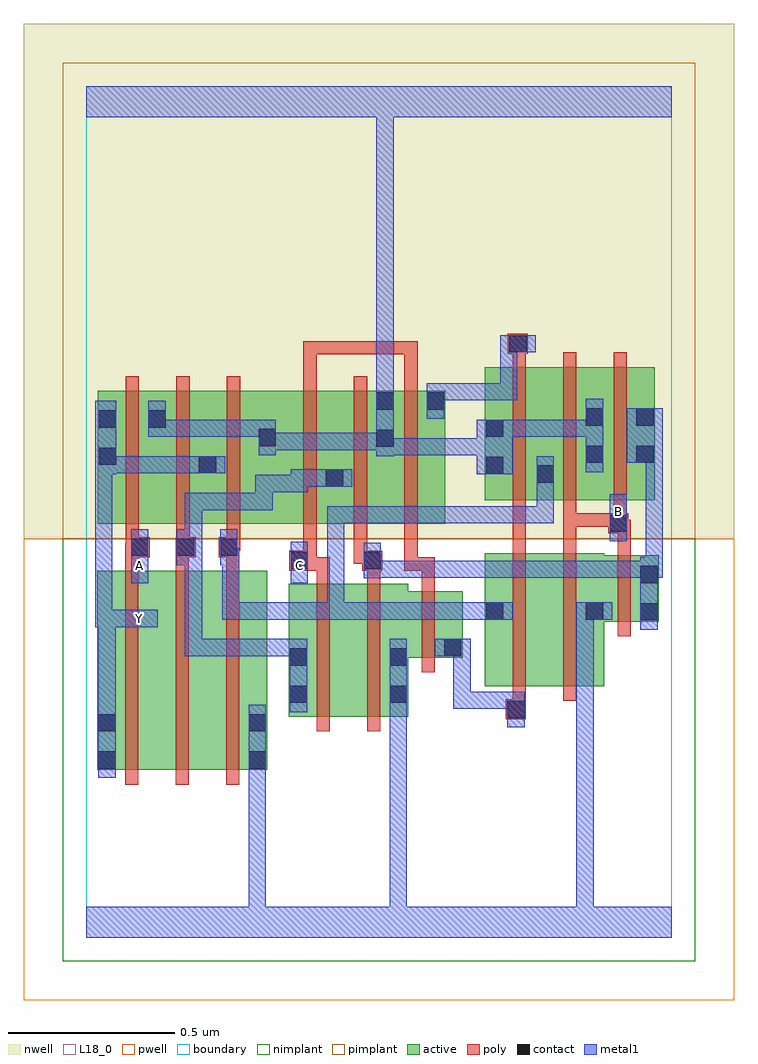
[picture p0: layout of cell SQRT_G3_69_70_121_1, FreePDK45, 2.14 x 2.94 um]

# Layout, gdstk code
import gdstk
lib = gdstk.Library(unit=1e-6, precision=1e-09)
def R(c, l, rs):  # rectangles x0, y0, x1, y1
    for r in rs: c.add(gdstk.rectangle(r[:2], r[2:], *l))
def A(c, l, x, y, w, h, nx, ny, dx, dy):  # array of equal rectangles
    R(c, l, [(x+i*dx, y+j*dy, x+i*dx+w, y+j*dy+h) for i in range(nx) for j in range(ny)])
active = (1, 0)
pwell = (2, 0)
nwell = (3, 0)
nimplant = (4, 0)
pimplant = (5, 0)
poly = (9, 0)
contact = (10, 0)
metal1 = (11, 0)
L18_0 = (18, 0)
boundary = (235, 0)

sqrt_g3_69_70_121_1 = lib.new_cell('SQRT_G3_69_70_121_1')
A(sqrt_g3_69_70_121_1, active, 0.716, 1.244, 0.06, 0.4, 3, 1, 0.152, 0)
R(sqrt_g3_69_70_121_1, active, [(0.032,0.504,0.092,1.104), (0.032,0.504,0.212,1.104), (0.212,0.504,0.364,1.104), (0.364,0.504,0.544,1.104), (0.484,0.504,0.544,1.104), (0.608,0.664,0.788,1.064), (0.788,0.664,0.968,1.064), (0.608,0.69,0.668,1.064), (0.908,0.702,0.968,0.874), (1.198,0.756,1.378,1.156), (1.198,0.756,1.258,1.156), (1.378,0.756,1.558,1.156), (0.908,0.842,1.132,1.042), (1.072,0.842,1.132,1.042), (1.498,0.884,1.558,1.028), (1.498,0.95,1.722,1.15), (1.662,0.95,1.722,1.15), (0.034,1.244,0.094,1.644), (0.034,1.244,0.242,1.644), (0.182,1.244,0.242,1.644), (0.182,1.244,0.394,1.644), (0.334,1.244,0.394,1.644), (0.334,1.244,0.574,1.644), (0.514,1.244,0.574,1.644), (0.514,1.244,0.776,1.644), (0.716,1.244,0.928,1.644), (0.868,1.244,1.08,1.644), (1.198,1.316,1.258,1.644), (1.198,1.316,1.41,1.716), (1.35,1.316,1.558,1.716), (1.498,1.316,1.71,1.716), (1.65,1.316,1.71,1.644), (1.35,1.364,1.41,1.644), (1.498,1.424,1.558,1.644)])
R(sqrt_g3_69_70_121_1, pwell, [(-0.188,-0.188,1.948,1.2)])
R(sqrt_g3_69_70_121_1, nwell, [(-0.188,1.2,1.948,2.748)])
R(sqrt_g3_69_70_121_1, nimplant, [(-0.072,-0.072,1.832,1.2)])
R(sqrt_g3_69_70_121_1, pimplant, [(-0.072,1.2,1.832,2.632)])
A(sqrt_g3_69_70_121_1, poly, 0.116, 0.46, 0.04, 0.688, 3, 1, 0.152, 0)
A(sqrt_g3_69_70_121_1, poly, 0.116, 1.108, 0.04, 0.076, 3, 1, 0.152, 0)
A(sqrt_g3_69_70_121_1, poly, 0.118, 1.164, 0.04, 0.076, 3, 1, 0.152, 0)
A(sqrt_g3_69_70_121_1, poly, 0.118, 1.2, 0.04, 0.488, 3, 1, 0.152, 0)
A(sqrt_g3_69_70_121_1, poly, 0.652, 1.2, 0.04, 0.488, 3, 1, 0.152, 0)
A(sqrt_g3_69_70_121_1, poly, 1.282, 1.236, 0.04, 0.076, 3, 1, 0.152, 0)
A(sqrt_g3_69_70_121_1, poly, 1.282, 1.272, 0.04, 0.488, 3, 1, 0.152, 0)
R(sqrt_g3_69_70_121_1, poly, [(0.692,0.62,0.732,1.108), (0.844,0.62,0.884,1.108), (1.262,0.656,1.322,0.716), (1.282,0.676,1.322,0.752), (1.282,0.712,1.322,1.2), (1.434,0.712,1.474,1.2), (1.008,0.798,1.048,1.086), (1.598,0.906,1.638,1.194), (1.008,1.046,1.048,1.144), (0.692,1.068,0.732,1.144), (0.844,1.068,0.884,1.144), (0.61,1.104,0.692,1.164), (0.652,1.104,0.692,1.144), (0.652,1.104,0.732,1.144), (0.83,1.104,0.89,1.164), (0.956,1.104,0.996,1.24), (0.956,1.104,1.048,1.144), (1.008,1.104,1.048,1.144), (1.008,1.104,1.048,1.144), (0.652,1.124,0.692,1.24), (0.804,1.124,0.844,1.24), (0.804,1.124,0.87,1.164), (0.83,1.124,0.87,1.164), (0.116,1.144,0.158,1.184), (0.118,1.144,0.158,1.184), (0.118,1.144,0.19,1.204), (0.268,1.144,0.328,1.204), (0.398,1.144,0.46,1.204), (1.598,1.154,1.638,1.256), (1.282,1.16,1.322,1.276), (1.434,1.16,1.474,1.276), (0.27,1.164,0.31,1.204), (0.27,1.164,0.31,1.204), (0.42,1.164,0.46,1.204), (0.42,1.164,0.462,1.204), (1.57,1.216,1.63,1.276), (1.59,1.216,1.63,1.256), (1.59,1.216,1.638,1.256), (1.282,1.236,1.322,1.276), (1.282,1.236,1.322,1.276), (1.282,1.236,1.322,1.276), (1.434,1.236,1.474,1.276), (1.434,1.236,1.474,1.276), (1.434,1.236,1.474,1.276), (1.434,1.236,1.61,1.276), (1.57,1.236,1.61,1.276), (1.57,1.236,1.61,1.276), (0.652,1.648,0.692,1.794), (0.956,1.648,0.996,1.794), (1.282,1.72,1.322,1.796), (0.652,1.754,0.692,1.794), (0.652,1.754,0.798,1.794), (0.758,1.754,0.798,1.794), (0.758,1.754,0.798,1.794), (0.758,1.754,0.798,1.794), (0.758,1.754,0.996,1.794), (0.956,1.754,0.996,1.794), (0.956,1.754,0.996,1.794), (0.956,1.754,0.996,1.794), (1.268,1.756,1.328,1.816)])
R(sqrt_g3_69_70_121_1, contact, [(0.036,0.508,0.088,0.56), (0.488,0.508,0.54,0.56), (0.036,0.62,0.088,0.672), (0.488,0.62,0.54,0.672), (1.266,0.66,1.318,0.712), (0.612,0.706,0.664,0.758), (0.912,0.706,0.964,0.758), (0.612,0.818,0.664,0.87), (0.912,0.818,0.964,0.87), (1.076,0.846,1.128,0.898), (1.666,0.954,1.718,1.006), (1.202,0.956,1.254,1.008), (1.502,0.956,1.554,1.008), (1.666,1.066,1.718,1.118), (0.614,1.108,0.666,1.16), (0.834,1.108,0.886,1.16), (0.134,1.148,0.186,1.2), (0.272,1.148,0.324,1.2), (0.402,1.148,0.454,1.2), (1.574,1.22,1.626,1.272), (0.72,1.356,0.772,1.408), (1.354,1.368,1.406,1.42), (1.202,1.394,1.254,1.446), (0.338,1.396,0.39,1.448), (0.038,1.422,0.09,1.474), (1.502,1.428,1.554,1.48), (1.654,1.428,1.706,1.48), (0.872,1.476,0.924,1.528), (0.518,1.478,0.57,1.53), (1.202,1.506,1.254,1.558), (0.038,1.534,0.09,1.586), (0.186,1.534,0.238,1.586), (1.502,1.54,1.554,1.592), (1.654,1.54,1.706,1.592), (0.872,1.588,0.924,1.64), (1.024,1.588,1.076,1.64), (1.272,1.76,1.324,1.812)])
R(sqrt_g3_69_70_121_1, metal1, [(0,0,1.76,0.092), (0.488,0.04,0.54,0.092), (0.488,0.04,0.54,0.092), (0.488,0.04,0.54,0.092), (0.488,0.04,0.54,0.092), (0.488,0.04,0.54,0.532), (0.912,0.04,0.964,0.73), (1.474,0.04,1.526,0.092), (1.474,0.04,1.526,0.092), (1.474,0.04,1.526,0.092), (1.474,0.04,1.526,0.092), (1.474,0.04,1.526,0.092), (1.474,0.04,1.526,0.092), (1.474,0.04,1.526,0.092), (1.474,0.04,1.526,0.092), (1.474,0.04,1.526,0.092), (1.474,0.04,1.526,0.092), (1.474,0.04,1.526,0.092), (1.474,0.04,1.526,0.092), (1.474,0.04,1.526,1.008), (0.036,0.48,0.088,0.7), (0.488,0.48,0.54,0.532), (0.488,0.48,0.54,0.532), (0.488,0.48,0.54,0.532), (0.488,0.48,0.54,0.532), (0.488,0.48,0.54,0.7), (1.266,0.632,1.318,0.74), (0.036,0.648,0.088,0.986), (0.612,0.678,0.664,0.898), (0.912,0.678,0.964,0.73), (0.912,0.678,0.964,0.73), (0.912,0.678,0.964,0.73), (0.912,0.678,0.964,0.73), (0.912,0.678,0.964,0.73), (0.912,0.678,0.964,0.73), (0.912,0.678,0.964,0.73), (0.912,0.678,0.964,0.73), (0.912,0.678,0.964,0.73), (0.912,0.678,0.964,0.73), (0.912,0.678,0.964,0.73), (0.912,0.678,0.964,0.73), (0.912,0.678,0.964,0.898), (1.104,0.688,1.156,0.74), (1.104,0.688,1.156,0.74), (1.104,0.688,1.156,0.74), (1.104,0.688,1.318,0.74), (1.104,0.688,1.156,0.898), (0.296,0.846,0.348,0.898), (0.296,0.846,0.45,0.898), (0.296,0.846,0.348,1.172), (0.398,0.846,0.45,0.898), (0.398,0.846,0.46,0.898), (0.408,0.846,0.46,0.898), (0.408,0.846,0.664,0.898), (1.048,0.846,1.156,0.898), (1.104,0.846,1.156,0.898), (1.104,0.846,1.156,0.898), (1.104,0.846,1.156,0.898), (1.104,0.846,1.156,0.898), (1.666,0.926,1.718,1.146), (0.026,0.934,0.078,1.446), (0.026,0.934,0.214,0.986), (0.408,0.956,0.634,1.008), (0.408,0.956,0.46,1.172), (0.582,0.956,0.634,1.008), (0.582,0.956,0.634,1.008), (0.582,0.956,0.634,1.008), (0.582,0.956,0.776,1.008), (0.724,0.956,0.776,1.008), (0.724,0.956,0.776,1.008), (0.724,0.956,0.776,1.008), (0.724,0.956,0.776,1.008), (0.724,0.956,0.776,1.008), (0.724,0.956,0.936,1.008), (0.724,0.956,0.776,1.298), (0.884,0.956,0.936,1.008), (0.884,0.956,1.046,1.008), (0.994,0.956,1.046,1.008), (0.994,0.956,1.046,1.008), (0.994,0.956,1.046,1.008), (0.994,0.956,1.226,1.008), (1.174,0.956,1.282,1.008), (1.474,0.956,1.582,1.008), (0.134,1.066,0.186,1.228), (0.614,1.066,0.666,1.19), (0.834,1.08,0.886,1.188), (0.834,1.082,0.886,1.134), (0.834,1.082,0.886,1.134), (0.834,1.082,1.046,1.134), (0.994,1.082,1.046,1.134), (0.994,1.082,1.046,1.134), (0.994,1.082,1.046,1.134), (0.994,1.082,1.296,1.134), (1.244,1.082,1.296,1.134), (1.244,1.082,1.296,1.134), (1.244,1.082,1.296,1.134), (1.244,1.082,1.416,1.134), (1.364,1.082,1.416,1.134), (1.364,1.082,1.416,1.134), (1.364,1.082,1.416,1.134), (1.364,1.082,1.526,1.134), (1.474,1.082,1.526,1.134), (1.474,1.082,1.718,1.134), (1.666,1.082,1.718,1.134), (1.666,1.082,1.718,1.134), (1.666,1.082,1.734,1.146), (1.666,1.094,1.718,1.146), (1.682,1.094,1.734,1.48), (1.682,1.094,1.734,1.146), (1.682,1.094,1.734,1.146), (0.272,1.12,0.324,1.228), (0.272,1.12,0.348,1.172), (0.296,1.12,0.348,1.172), (0.296,1.12,0.348,1.338), (0.402,1.12,0.454,1.228), (0.402,1.12,0.46,1.172), (1.574,1.192,1.626,1.334), (0.724,1.246,0.776,1.298), (0.724,1.246,0.776,1.298), (0.724,1.246,0.776,1.298), (0.724,1.246,0.936,1.298), (0.884,1.246,0.936,1.298), (0.884,1.246,1.046,1.298), (0.994,1.246,1.046,1.298), (0.994,1.246,1.186,1.298), (1.134,1.246,1.186,1.298), (1.134,1.246,1.186,1.298), (1.134,1.246,1.186,1.298), (1.134,1.246,1.306,1.298), (1.254,1.246,1.306,1.298), (1.254,1.246,1.406,1.298), (1.354,1.246,1.406,1.298), (1.354,1.246,1.406,1.392), (0.296,1.286,0.348,1.338), (0.296,1.286,0.448,1.338), (0.396,1.286,0.448,1.338), (0.396,1.286,0.46,1.338), (0.408,1.286,0.46,1.338), (0.408,1.286,0.56,1.338), (0.508,1.286,0.56,1.338), (0.508,1.286,0.56,1.392), (0.508,1.34,0.56,1.392), (0.508,1.34,0.666,1.392), (0.614,1.34,0.666,1.408), (1.354,1.34,1.406,1.448), (0.614,1.356,0.744,1.408), (0.692,1.356,0.8,1.408), (0.026,1.394,0.078,1.446), (0.026,1.394,0.078,1.446), (0.026,1.394,0.09,1.614), (1.174,1.394,1.282,1.558), (0.038,1.396,0.09,1.448), (0.038,1.396,0.09,1.448), (0.038,1.396,0.214,1.448), (0.162,1.396,0.214,1.448), (0.162,1.396,0.214,1.448), (0.162,1.396,0.214,1.448), (0.162,1.396,0.362,1.448), (0.31,1.396,0.418,1.448), (1.502,1.4,1.554,1.62), (1.626,1.428,1.734,1.592), (0.872,1.448,0.924,1.5), (0.872,1.448,0.924,1.668), (0.872,1.448,0.924,1.518), (0.518,1.45,0.57,1.558), (0.872,1.45,1.046,1.502), (0.994,1.45,1.046,1.502), (0.994,1.45,1.046,1.502), (0.994,1.45,1.046,1.502), (0.994,1.45,1.226,1.502), (0.518,1.466,0.57,1.518), (0.518,1.466,0.57,1.518), (0.518,1.466,0.776,1.518), (0.724,1.466,0.776,1.518), (0.724,1.466,0.776,1.518), (0.724,1.466,0.776,1.518), (0.724,1.466,0.924,1.518), (0.186,1.506,0.238,1.558), (0.186,1.506,0.238,1.558), (0.186,1.506,0.238,1.614), (0.186,1.506,0.35,1.558), (0.298,1.506,0.35,1.558), (0.298,1.506,0.45,1.558), (0.398,1.506,0.45,1.558), (0.398,1.506,0.46,1.558), (0.408,1.506,0.46,1.558), (0.408,1.506,0.57,1.558), (1.23,1.506,1.306,1.558), (1.254,1.506,1.306,1.558), (1.254,1.506,1.416,1.558), (1.364,1.506,1.416,1.558), (1.364,1.506,1.416,1.558), (1.364,1.506,1.416,1.558), (1.364,1.506,1.554,1.558), (1.024,1.56,1.076,1.668), (0.872,1.616,0.924,2.52), (1.024,1.616,1.296,1.668), (1.244,1.616,1.296,1.668), (1.244,1.616,1.296,1.812), (1.244,1.76,1.296,1.812), (1.244,1.76,1.296,1.812), (1.244,1.76,1.352,1.812), (0,2.468,1.76,2.56), (0.872,2.468,0.924,2.52), (0.872,2.468,0.924,2.52), (0.872,2.468,0.924,2.52), (0.872,2.468,0.924,2.52), (0.872,2.468,0.924,2.52), (0.872,2.468,0.924,2.52), (0.872,2.468,0.924,2.52), (0.872,2.468,0.924,2.52), (0.872,2.468,0.924,2.52), (0.872,2.468,0.924,2.52), (0.872,2.468,0.924,2.52), (0.872,2.468,0.924,2.52), (0.872,2.468,0.924,2.52), (0.872,2.468,0.924,2.52), (0.872,2.468,0.924,2.52), (0.872,2.468,0.924,2.52)])
R(sqrt_g3_69_70_121_1, L18_0, [(0,0,1.76,0.092), (0.488,0.04,0.54,0.092), (0.488,0.04,0.54,0.092), (0.488,0.04,0.54,0.092), (0.488,0.04,0.54,0.092), (0.488,0.04,0.54,0.532), (0.912,0.04,0.964,0.73), (1.474,0.04,1.526,0.092), (1.474,0.04,1.526,0.092), (1.474,0.04,1.526,0.092), (1.474,0.04,1.526,0.092), (1.474,0.04,1.526,0.092), (1.474,0.04,1.526,0.092), (1.474,0.04,1.526,0.092), (1.474,0.04,1.526,0.092), (1.474,0.04,1.526,0.092), (1.474,0.04,1.526,0.092), (1.474,0.04,1.526,0.092), (1.474,0.04,1.526,0.092), (1.474,0.04,1.526,1.008), (0.036,0.48,0.088,0.7), (0.488,0.48,0.54,0.7), (0.488,0.48,0.54,0.532), (0.488,0.48,0.54,0.532), (0.488,0.48,0.54,0.532), (0.488,0.48,0.54,0.532), (0.036,0.648,0.088,0.986), (0.912,0.678,0.964,0.898), (0.912,0.678,0.964,0.73), (0.912,0.678,0.964,0.73), (0.912,0.678,0.964,0.73), (0.912,0.678,0.964,0.73), (0.912,0.678,0.964,0.73), (0.912,0.678,0.964,0.73), (0.912,0.678,0.964,0.73), (0.912,0.678,0.964,0.73), (0.912,0.678,0.964,0.73), (0.912,0.678,0.964,0.73), (0.912,0.678,0.964,0.73), (0.912,0.678,0.964,0.73), (0.026,0.934,0.214,0.986), (0.026,0.934,0.078,1.446), (0.134,0.934,0.186,0.986), (1.474,0.956,1.582,1.008), (0.134,1.066,0.186,1.228), (0.614,1.066,0.666,1.19), (0.134,1.094,0.186,1.146), (0.614,1.094,0.666,1.146), (1.574,1.192,1.626,1.334), (1.574,1.254,1.626,1.306), (0.026,1.394,0.078,1.446), (0.026,1.394,0.078,1.446), (0.026,1.394,0.09,1.614), (1.174,1.394,1.282,1.558), (0.038,1.396,0.09,1.448), (0.038,1.396,0.09,1.448), (0.038,1.396,0.214,1.448), (0.162,1.396,0.214,1.448), (0.162,1.396,0.214,1.448), (0.162,1.396,0.214,1.448), (0.162,1.396,0.362,1.448), (0.31,1.396,0.418,1.448), (1.502,1.4,1.554,1.62), (0.872,1.448,0.924,1.668), (0.872,1.448,0.924,1.5), (0.872,1.448,0.924,1.518), (0.518,1.45,0.57,1.558), (0.872,1.45,1.046,1.502), (0.994,1.45,1.046,1.502), (0.994,1.45,1.046,1.502), (0.994,1.45,1.046,1.502), (0.994,1.45,1.226,1.502), (0.518,1.466,0.57,1.518), (0.518,1.466,0.57,1.518), (0.518,1.466,0.776,1.518), (0.724,1.466,0.776,1.518), (0.724,1.466,0.776,1.518), (0.724,1.466,0.776,1.518), (0.724,1.466,0.924,1.518), (0.186,1.506,0.238,1.558), (0.186,1.506,0.238,1.558), (0.186,1.506,0.238,1.614), (0.186,1.506,0.35,1.558), (0.298,1.506,0.35,1.558), (0.298,1.506,0.45,1.558), (0.398,1.506,0.45,1.558), (0.398,1.506,0.46,1.558), (0.408,1.506,0.46,1.558), (0.408,1.506,0.57,1.558), (1.23,1.506,1.306,1.558), (1.254,1.506,1.306,1.558), (1.254,1.506,1.416,1.558), (1.364,1.506,1.416,1.558), (1.364,1.506,1.416,1.558), (1.364,1.506,1.416,1.558), (1.364,1.506,1.554,1.558), (0.872,1.616,0.924,2.52), (0,2.468,1.76,2.56), (0.872,2.468,0.924,2.52), (0.872,2.468,0.924,2.52), (0.872,2.468,0.924,2.52), (0.872,2.468,0.924,2.52), (0.872,2.468,0.924,2.52), (0.872,2.468,0.924,2.52), (0.872,2.468,0.924,2.52), (0.872,2.468,0.924,2.52), (0.872,2.468,0.924,2.52), (0.872,2.468,0.924,2.52), (0.872,2.468,0.924,2.52), (0.872,2.468,0.924,2.52), (0.872,2.468,0.924,2.52), (0.872,2.468,0.924,2.52), (0.872,2.468,0.924,2.52), (0.872,2.468,0.924,2.52)])
R(sqrt_g3_69_70_121_1, boundary, [(0,0,1.76,2.56)])
sqrt_g3_69_70_121_1.add(gdstk.Label('A', (0.16,1.12), layer=11, texttype=0))
sqrt_g3_69_70_121_1.add(gdstk.Label('B', (1.6,1.28), layer=11, texttype=0))
sqrt_g3_69_70_121_1.add(gdstk.Label('C', (0.64,1.12), layer=11, texttype=0))
sqrt_g3_69_70_121_1.add(gdstk.Label('Y', (0.16,0.96), layer=11, texttype=0))

lib.write_gds('SQRT_G3_69_70_121_1.gds')
